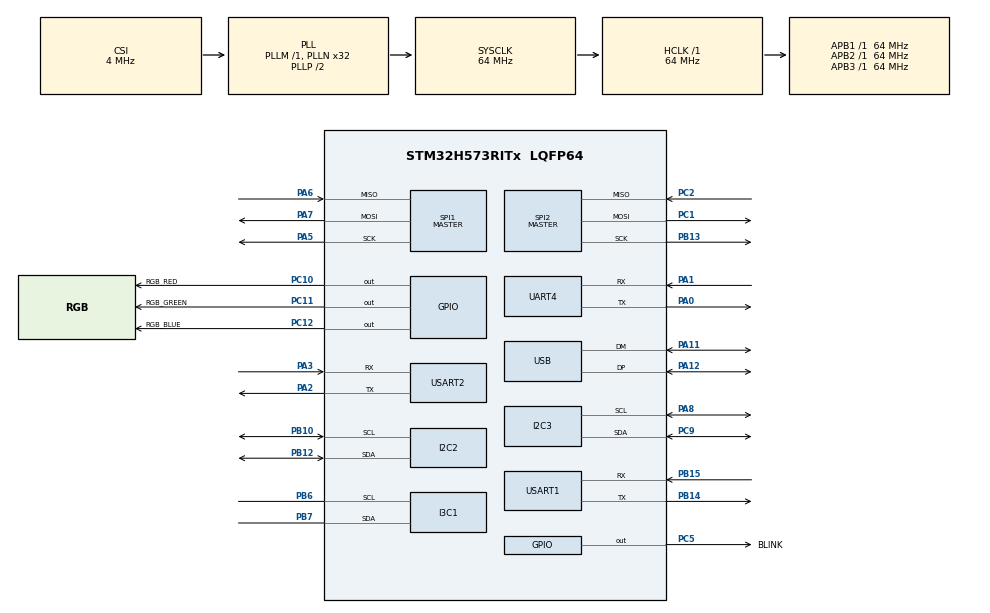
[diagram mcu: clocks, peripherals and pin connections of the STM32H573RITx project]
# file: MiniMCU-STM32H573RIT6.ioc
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BOOTPATH.BootPathName=LEGACY
BOOTPATH.UserSelectedBootPath=LEGACY
CORTEX_M33_NS.userName=CORTEX_M33
I2C2.Timing=0x10707DBC
I2C3.Timing=0x10707DBC
I3C1.BusFreeDuration=430
I3C1.Register0=0x001e131e
I3C1.Register1=0x000d003e
I3C1.SCLI3CHighDuration=0x13
I3C1.SCLODLowDuration=0x1e
I3C1.SCLPPLowDuration=0x1e
I3C1.SCL_OD_Freq=1255
I3C1.SCL_PP_Freq=1255
I3C1.hexBusFreeDuration=0x0d
I3C1.hexBusIdleDuration=0x3e
Mcu.Family=STM32H5
Mcu.Name=STM32H573RITx
Mcu.Package=LQFP64
NVIC.PriorityGroup=NVIC_PRIORITYGROUP_4
PA0.Mode=Asynchronous
PA0.Signal=UART4_TX
PA1.Mode=Asynchronous
PA1.Signal=UART4_RX
PA11.Mode=Device
PA11.Signal=USB_DM
PA12.Mode=Device
PA12.Signal=USB_DP
PA13(JTMS/SWDIO).Mode=Trace_Asynchronous_SW
PA13(JTMS/SWDIO).Signal=DEBUG_JTMS-SWDIO
PA14(JTCK/SWCLK).Mode=Trace_Asynchronous_SW
PA14(JTCK/SWCLK).Signal=DEBUG_JTCK-SWCLK
PA2.Mode=Asynchronous
PA2.Signal=USART2_TX
PA3.Mode=Asynchronous
PA3.Signal=USART2_RX
PA5.Mode=Full_Duplex_Master
PA5.Signal=SPI1_SCK
PA6.Mode=Full_Duplex_Master
PA6.Signal=SPI1_MISO
PA7.Mode=Full_Duplex_Master
PA7.Signal=SPI1_MOSI
PA8.Mode=I2C
PA8.Signal=I2C3_SCL
PB10.Mode=I2C
PB10.Signal=I2C2_SCL
PB12.Mode=I2C
PB12.Signal=I2C2_SDA
PB13.Mode=Full_Duplex_Master
PB13.Signal=SPI2_SCK
PB14.Mode=Asynchronous
PB14.Signal=USART1_TX
PB15.Mode=Asynchronous
PB15.Signal=USART1_RX
PB3(JTDO/TRACESWO).Mode=Trace_Asynchronous_SW
PB3(JTDO/TRACESWO).Signal=DEBUG_JTDO-SWO
PB6.Mode=Controller
PB6.Signal=I3C1_SCL
PB7.Mode=Controller
PB7.Signal=I3C1_SDA
PC1.Mode=Full_Duplex_Master
PC1.Signal=SPI2_MOSI
PC10.GPIO_Label=RGB_RED
PC10.Signal=GPIO_Output
PC11.GPIO_Label=RGB_GREEN
PC11.Signal=GPIO_Output
PC12.GPIO_Label=RGB_BLUE
PC12.Signal=GPIO_Output
PC14-OSC32_IN(OSC32_IN).Mode=LSE-External-Oscillator
PC14-OSC32_IN(OSC32_IN).Signal=RCC_OSC32_IN
PC15-OSC32_OUT(OSC32_OUT).Mode=LSE-External-Oscillator
PC15-OSC32_OUT(OSC32_OUT).Signal=RCC_OSC32_OUT
PC2.Mode=Full_Duplex_Master
PC2.Signal=SPI2_MISO
PC5.GPIO_Label=BLINK
PC5.Signal=GPIO_Output
PC9.Mode=I2C
PC9.Signal=I2C3_SDA
PH0-OSC_IN(PH0).Mode=HSE-External-Oscillator
PH0-OSC_IN(PH0).Signal=RCC_OSC_IN
PH1-OSC_OUT(PH1).Mode=HSE-External-Oscillator
PH1-OSC_OUT(PH1).Signal=RCC_OSC_OUT
ProjectManager.HeapSize=0x200
ProjectManager.StackSize=0x400
ProjectManager.TargetToolchain=STM32CubeIDE
RCC.ADCFreq_Value=64000000
RCC.AHBFreq_Value=64000000
RCC.APB1Freq_Value=64000000
RCC.APB1TimFreq_Value=64000000
RCC.APB2Freq_Value=64000000
RCC.APB2TimFreq_Value=64000000
RCC.APB3Freq_Value=64000000
RCC.CSI_VALUE=4000000
RCC.CortexFreq_Value=64000000
RCC.EPOD_VALUE=4000000
RCC.HCLKFreq_Value=64000000
RCC.HSE_VALUE=8000000
RCC.HSI48_VALUE=48000000
RCC.HSI_VALUE=64000000
RCC.LSIRC_VALUE=32000
RCC.PLL1Q=3
RCC.PLL2FRACN=0
RCC.PLL3FRACN=0
RCC.PLLFRACN=0
RCC.PLLN=32
RCC.SYSCLKFreq_VALUE=64000000
RCC.SYSCLKSource=RCC_SYSCLKSOURCE_PLLCLK
RCC.USBFreq_Value=48000000
RCC.VCOOutputFreq_Value=128000000
SPI1.BaudRatePrescaler=SPI_BAUDRATEPRESCALER_2
SPI1.CalculateBaudRate=21.333332 MBits/s
SPI1.Direction=SPI_DIRECTION_2LINES
SPI1.Mode=SPI_MODE_MASTER
SPI1.VirtualType=VM_MASTER
SPI2.BaudRatePrescaler=SPI_BAUDRATEPRESCALER_2
SPI2.CalculateBaudRate=21.333332 MBits/s
SPI2.Direction=SPI_DIRECTION_2LINES
SPI2.Mode=SPI_MODE_MASTER
SPI2.VirtualType=VM_MASTER
USART1.VirtualMode-Asynchronous=VM_ASYNC
USART2.VirtualMode-Asynchronous=VM_ASYNC
USB.VirtualMode=Device_Only
VP_BOOTPATH_VS_BOOTPATH.Mode=BP_Activate
VP_CORTEX_M33_NS_VS_Hclk.Mode=Hclk_Mode
VP_ICACHE_VS_ICACHE.Mode=DirectMappedCache
VP_MEMORYMAP_VS_MEMORYMAP.Mode=CurAppReg
VP_PWR_VS_LPOM.Mode=PowerOptimisation
VP_PWR_VS_SECSignals.Mode=Security/Privilege
board=custom

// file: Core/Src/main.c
/* USER CODE BEGIN Header */
/**
 ******************************************************************************
 * @file           : main.c
 * @brief          : Main program body
 ******************************************************************************
 * @attention
 *
 * Copyright (c) 2025 STMicroelectronics.
 * All rights reserved.
 *
 * This software is licensed under terms that can be found in the LICENSE file
 * in the root directory of this software component.
 * If no LICENSE file comes with this software, it is provided AS-IS.
 *
 ******************************************************************************
 */
/* USER CODE END Header */
#include "main.h"

/* USER CODE BEGIN Includes */
#include <stdbool.h>
/* USER CODE END Includes */

I2C_HandleTypeDef hi2c2;
I2C_HandleTypeDef hi2c3;

I3C_HandleTypeDef hi3c1;

SPI_HandleTypeDef hspi1;
SPI_HandleTypeDef hspi2;

UART_HandleTypeDef huart4;
UART_HandleTypeDef huart1;
UART_HandleTypeDef huart2;

PCD_HandleTypeDef hpcd_USB_DRD_FS;

void SystemClock_Config(void);
static void MX_GPIO_Init(void);
static void MX_ICACHE_Init(void);
static void MX_I2C2_Init(void);
static void MX_I2C3_Init(void);
static void MX_I3C1_Init(void);
static void MX_SPI1_Init(void);
static void MX_SPI2_Init(void);
static void MX_UART4_Init(void);
static void MX_USART1_UART_Init(void);
static void MX_USART2_UART_Init(void);
static void MX_USB_PCD_Init(void);

/* USER CODE BEGIN 0 */

#define LED_ON GPIO_PIN_SET
#define LED_OFF GPIO_PIN_RESET

static bool blink_state = false;

static inline void rgb_set(uint8_t r, uint8_t g, uint8_t b)
{
  // Adjust GPIOC to whatever port your LED pins are on
  HAL_GPIO_WritePin(GPIOC, RGB_RED_Pin, r ? LED_ON : LED_OFF);
  HAL_GPIO_WritePin(GPIOC, RGB_GREEN_Pin, g ? LED_ON : LED_OFF);
  HAL_GPIO_WritePin(GPIOC, RGB_BLUE_Pin, b ? LED_ON : LED_OFF);
}

/* USER CODE END 0 */

int main(void)
{

  /* MCU Configuration--------------------------------------------------------*/

  /* Reset of all peripherals, Initializes the Flash interface and the Systick. */
  HAL_Init();

  /* Configure the system clock */
  SystemClock_Config();

  /* Initialize all configured peripherals */
  MX_GPIO_Init();
  MX_ICACHE_Init();
  MX_I2C2_Init();
  MX_I2C3_Init();
  MX_I3C1_Init();
  MX_SPI1_Init();
  MX_SPI2_Init();
  MX_UART4_Init();
  MX_USART1_UART_Init();
  MX_USART2_UART_Init();
  MX_USB_PCD_Init();

  /* Infinite loop */
  /* USER CODE BEGIN WHILE */
  while (1) {
    static const uint8_t seq[] = {
      0b001, // Red
      0b010, // Green
      0b100, // Blue
      0b011, // Yellow (red+green)
      0b101, // Magenta (red+blue)
      0b110, // Cyan (green+blue)
      0b111, // White (red+green+blue)
      0b000  // Off
    };
    static size_t i = 0;

    uint8_t c = seq[i];
    rgb_set((c & 0b001) != 0, (c & 0b010) != 0, (c & 0b100) != 0);

    HAL_Delay(100);
    HAL_GPIO_WritePin(GPIOC, BLINK_Pin, blink_state); // Blink LED
    blink_state = !blink_state; // Alternate blink on/off

    i = (i + 1) % (sizeof(seq)); // Increment RGB sequence with wrap
  }
  /* USER CODE END WHILE */

}

void SystemClock_Config(void)
{
  RCC_OscInitTypeDef RCC_OscInitStruct = {0};
  RCC_ClkInitTypeDef RCC_ClkInitStruct = {0};

  /** Configure the main internal regulator output voltage
  */
  __HAL_PWR_VOLTAGESCALING_CONFIG(PWR_REGULATOR_VOLTAGE_SCALE3);

  while(!__HAL_PWR_GET_FLAG(PWR_FLAG_VOSRDY)) {}

  /** Initializes the RCC Oscillators according to the specified parameters
  * in the RCC_OscInitTypeDef structure.
  */
  RCC_OscInitStruct.OscillatorType = RCC_OSCILLATORTYPE_HSI48|RCC_OSCILLATORTYPE_CSI;
  RCC_OscInitStruct.HSI48State = RCC_HSI48_ON;
  RCC_OscInitStruct.CSIState = RCC_CSI_ON;
  RCC_OscInitStruct.CSICalibrationValue = RCC_CSICALIBRATION_DEFAULT;
  RCC_OscInitStruct.PLL.PLLState = RCC_PLL_ON;
  RCC_OscInitStruct.PLL.PLLSource = RCC_PLL1_SOURCE_CSI;
  RCC_OscInitStruct.PLL.PLLM = 1;
  RCC_OscInitStruct.PLL.PLLN = 32;
  RCC_OscInitStruct.PLL.PLLP = 2;
  RCC_OscInitStruct.PLL.PLLQ = 3;
  RCC_OscInitStruct.PLL.PLLR = 2;
  RCC_OscInitStruct.PLL.PLLRGE = RCC_PLL1_VCIRANGE_2;
  RCC_OscInitStruct.PLL.PLLVCOSEL = RCC_PLL1_VCORANGE_WIDE;
  RCC_OscInitStruct.PLL.PLLFRACN = 0;
  if (HAL_RCC_OscConfig(&RCC_OscInitStruct) != HAL_OK)
  {
    Error_Handler();
  }

  /** Initializes the CPU, AHB and APB buses clocks
  */
  RCC_ClkInitStruct.ClockType = RCC_CLOCKTYPE_HCLK|RCC_CLOCKTYPE_SYSCLK
                              |RCC_CLOCKTYPE_PCLK1|RCC_CLOCKTYPE_PCLK2
                              |RCC_CLOCKTYPE_PCLK3;
  RCC_ClkInitStruct.SYSCLKSource = RCC_SYSCLKSOURCE_PLLCLK;
  RCC_ClkInitStruct.AHBCLKDivider = RCC_SYSCLK_DIV1;
  RCC_ClkInitStruct.APB1CLKDivider = RCC_HCLK_DIV1;
  RCC_ClkInitStruct.APB2CLKDivider = RCC_HCLK_DIV1;
  RCC_ClkInitStruct.APB3CLKDivider = RCC_HCLK_DIV1;

  if (HAL_RCC_ClockConfig(&RCC_ClkInitStruct, FLASH_LATENCY_3) != HAL_OK)
  {
    Error_Handler();
  }

  /** Configure the programming delay
  */
  __HAL_FLASH_SET_PROGRAM_DELAY(FLASH_PROGRAMMING_DELAY_1);
}

static void MX_I2C2_Init(void)
{

  hi2c2.Instance = I2C2;
  hi2c2.Init.Timing = 0x10707DBC;
  hi2c2.Init.OwnAddress1 = 0;
  hi2c2.Init.AddressingMode = I2C_ADDRESSINGMODE_7BIT;
  hi2c2.Init.DualAddressMode = I2C_DUALADDRESS_DISABLE;
  hi2c2.Init.OwnAddress2 = 0;
  hi2c2.Init.OwnAddress2Masks = I2C_OA2_NOMASK;
  hi2c2.Init.GeneralCallMode = I2C_GENERALCALL_DISABLE;
  hi2c2.Init.NoStretchMode = I2C_NOSTRETCH_DISABLE;
  if (HAL_I2C_Init(&hi2c2) != HAL_OK)
  {
    Error_Handler();
  }

  /** Configure Analogue filter
  */
  if (HAL_I2CEx_ConfigAnalogFilter(&hi2c2, I2C_ANALOGFILTER_ENABLE) != HAL_OK)
  {
    Error_Handler();
  }

  /** Configure Digital filter
  */
  if (HAL_I2CEx_ConfigDigitalFilter(&hi2c2, 0) != HAL_OK)
  {
    Error_Handler();
  }

}

static void MX_I2C3_Init(void)
{

  hi2c3.Instance = I2C3;
  hi2c3.Init.Timing = 0x10707DBC;
  hi2c3.Init.OwnAddress1 = 0;
  hi2c3.Init.AddressingMode = I2C_ADDRESSINGMODE_7BIT;
  hi2c3.Init.DualAddressMode = I2C_DUALADDRESS_DISABLE;
  hi2c3.Init.OwnAddress2 = 0;
  hi2c3.Init.OwnAddress2Masks = I2C_OA2_NOMASK;
  hi2c3.Init.GeneralCallMode = I2C_GENERALCALL_DISABLE;
  hi2c3.Init.NoStretchMode = I2C_NOSTRETCH_DISABLE;
  if (HAL_I2C_Init(&hi2c3) != HAL_OK)
  {
    Error_Handler();
  }

  /** Configure Analogue filter
  */
  if (HAL_I2CEx_ConfigAnalogFilter(&hi2c3, I2C_ANALOGFILTER_ENABLE) != HAL_OK)
  {
    Error_Handler();
  }

  /** Configure Digital filter
  */
  if (HAL_I2CEx_ConfigDigitalFilter(&hi2c3, 0) != HAL_OK)
  {
    Error_Handler();
  }

}

static void MX_I3C1_Init(void)
{

  I3C_FifoConfTypeDef sFifoConfig = {0};
  I3C_CtrlConfTypeDef sCtrlConfig = {0};

  hi3c1.Instance = I3C1;
  hi3c1.Mode = HAL_I3C_MODE_CONTROLLER;
  hi3c1.Init.CtrlBusCharacteristic.SDAHoldTime = HAL_I3C_SDA_HOLD_TIME_0_5;
  hi3c1.Init.CtrlBusCharacteristic.WaitTime = HAL_I3C_OWN_ACTIVITY_STATE_0;
  hi3c1.Init.CtrlBusCharacteristic.SCLPPLowDuration = 0x1e;
  hi3c1.Init.CtrlBusCharacteristic.SCLI3CHighDuration = 0x13;
  hi3c1.Init.CtrlBusCharacteristic.SCLODLowDuration = 0x1e;
  hi3c1.Init.CtrlBusCharacteristic.SCLI2CHighDuration = 0x00;
  hi3c1.Init.CtrlBusCharacteristic.BusFreeDuration = 0x0d;
  hi3c1.Init.CtrlBusCharacteristic.BusIdleDuration = 0x3e;
  if (HAL_I3C_Init(&hi3c1) != HAL_OK)
  {
    Error_Handler();
  }

  /** Configure FIFO
  */
  sFifoConfig.RxFifoThreshold = HAL_I3C_RXFIFO_THRESHOLD_1_4;
  sFifoConfig.TxFifoThreshold = HAL_I3C_TXFIFO_THRESHOLD_1_4;
  sFifoConfig.ControlFifo = HAL_I3C_CONTROLFIFO_DISABLE;
  sFifoConfig.StatusFifo = HAL_I3C_STATUSFIFO_DISABLE;
  if (HAL_I3C_SetConfigFifo(&hi3c1, &sFifoConfig) != HAL_OK)
  {
    Error_Handler();
  }

  /** Configure controller
  */
  sCtrlConfig.DynamicAddr = 0;
  sCtrlConfig.StallTime = 0x00;
  sCtrlConfig.HotJoinAllowed = DISABLE;
  sCtrlConfig.ACKStallState = DISABLE;
  sCtrlConfig.CCCStallState = DISABLE;
  sCtrlConfig.TxStallState = DISABLE;
  sCtrlConfig.RxStallState = DISABLE;
  sCtrlConfig.HighKeeperSDA = DISABLE;
  if (HAL_I3C_Ctrl_Config(&hi3c1, &sCtrlConfig) != HAL_OK)
  {
    Error_Handler();
  }

}

static void MX_ICACHE_Init(void)
{

  /** Enable instruction cache in 1-way (direct mapped cache)
  */
  if (HAL_ICACHE_ConfigAssociativityMode(ICACHE_1WAY) != HAL_OK)
  {
    Error_Handler();
  }
  if (HAL_ICACHE_Enable() != HAL_OK)
  {
    Error_Handler();
  }

}

static void MX_SPI1_Init(void)
{

  /* SPI1 parameter configuration*/
  hspi1.Instance = SPI1;
  hspi1.Init.Mode = SPI_MODE_MASTER;
  hspi1.Init.Direction = SPI_DIRECTION_2LINES;
  hspi1.Init.DataSize = SPI_DATASIZE_4BIT;
  hspi1.Init.CLKPolarity = SPI_POLARITY_LOW;
  hspi1.Init.CLKPhase = SPI_PHASE_1EDGE;
  hspi1.Init.NSS = SPI_NSS_SOFT;
  hspi1.Init.BaudRatePrescaler = SPI_BAUDRATEPRESCALER_2;
  hspi1.Init.FirstBit = SPI_FIRSTBIT_MSB;
  hspi1.Init.TIMode = SPI_TIMODE_DISABLE;
  hspi1.Init.CRCCalculation = SPI_CRCCALCULATION_DISABLE;
  hspi1.Init.CRCPolynomial = 0x7;
  hspi1.Init.NSSPMode = SPI_NSS_PULSE_ENABLE;
  hspi1.Init.NSSPolarity = SPI_NSS_POLARITY_LOW;
  hspi1.Init.FifoThreshold = SPI_FIFO_THRESHOLD_01DATA;
  hspi1.Init.MasterSSIdleness = SPI_MASTER_SS_IDLENESS_00CYCLE;
  hspi1.Init.MasterInterDataIdleness = SPI_MASTER_INTERDATA_IDLENESS_00CYCLE;
  hspi1.Init.MasterReceiverAutoSusp = SPI_MASTER_RX_AUTOSUSP_DISABLE;
  hspi1.Init.MasterKeepIOState = SPI_MASTER_KEEP_IO_STATE_DISABLE;
  hspi1.Init.IOSwap = SPI_IO_SWAP_DISABLE;
  hspi1.Init.ReadyMasterManagement = SPI_RDY_MASTER_MANAGEMENT_INTERNALLY;
  hspi1.Init.ReadyPolarity = SPI_RDY_POLARITY_HIGH;
  if (HAL_SPI_Init(&hspi1) != HAL_OK)
  {
    Error_Handler();
  }

}

static void MX_SPI2_Init(void)
{

  /* SPI2 parameter configuration*/
  hspi2.Instance = SPI2;
  hspi2.Init.Mode = SPI_MODE_MASTER;
  hspi2.Init.Direction = SPI_DIRECTION_2LINES;
  hspi2.Init.DataSize = SPI_DATASIZE_4BIT;
  hspi2.Init.CLKPolarity = SPI_POLARITY_LOW;
  hspi2.Init.CLKPhase = SPI_PHASE_1EDGE;
  hspi2.Init.NSS = SPI_NSS_SOFT;
  hspi2.Init.BaudRatePrescaler = SPI_BAUDRATEPRESCALER_2;
  hspi2.Init.FirstBit = SPI_FIRSTBIT_MSB;
  hspi2.Init.TIMode = SPI_TIMODE_DISABLE;
  hspi2.Init.CRCCalculation = SPI_CRCCALCULATION_DISABLE;
  hspi2.Init.CRCPolynomial = 0x7;
  hspi2.Init.NSSPMode = SPI_NSS_PULSE_ENABLE;
  hspi2.Init.NSSPolarity = SPI_NSS_POLARITY_LOW;
  hspi2.Init.FifoThreshold = SPI_FIFO_THRESHOLD_01DATA;
  hspi2.Init.MasterSSIdleness = SPI_MASTER_SS_IDLENESS_00CYCLE;
  hspi2.Init.MasterInterDataIdleness = SPI_MASTER_INTERDATA_IDLENESS_00CYCLE;
  hspi2.Init.MasterReceiverAutoSusp = SPI_MASTER_RX_AUTOSUSP_DISABLE;
  hspi2.Init.MasterKeepIOState = SPI_MASTER_KEEP_IO_STATE_DISABLE;
  hspi2.Init.IOSwap = SPI_IO_SWAP_DISABLE;
  hspi2.Init.ReadyMasterManagement = SPI_RDY_MASTER_MANAGEMENT_INTERNALLY;
  hspi2.Init.ReadyPolarity = SPI_RDY_POLARITY_HIGH;
  if (HAL_SPI_Init(&hspi2) != HAL_OK)
  {
    Error_Handler();
  }

}

static void MX_UART4_Init(void)
{

  huart4.Instance = UART4;
  huart4.Init.BaudRate = 115200;
  huart4.Init.WordLength = UART_WORDLENGTH_8B;
  huart4.Init.StopBits = UART_STOPBITS_1;
  huart4.Init.Parity = UART_PARITY_NONE;
  huart4.Init.Mode = UART_MODE_TX_RX;
  huart4.Init.HwFlowCtl = UART_HWCONTROL_NONE;
  huart4.Init.OverSampling = UART_OVERSAMPLING_16;
  huart4.Init.OneBitSampling = UART_ONE_BIT_SAMPLE_DISABLE;
  huart4.Init.ClockPrescaler = UART_PRESCALER_DIV1;
  huart4.AdvancedInit.AdvFeatureInit = UART_ADVFEATURE_NO_INIT;
  if (HAL_UART_Init(&huart4) != HAL_OK)
  {
    Error_Handler();
  }
  if (HAL_UARTEx_SetTxFifoThreshold(&huart4, UART_TXFIFO_THRESHOLD_1_8) != HAL_OK)
  {
    Error_Handler();
  }
  if (HAL_UARTEx_SetRxFifoThreshold(&huart4, UART_RXFIFO_THRESHOLD_1_8) != HAL_OK)
  {
    Error_Handler();
  }
  if (HAL_UARTEx_DisableFifoMode(&huart4) != HAL_OK)
  {
    Error_Handler();
  }

}

static void MX_USART1_UART_Init(void)
{

  huart1.Instance = USART1;
  huart1.Init.BaudRate = 115200;
  huart1.Init.WordLength = UART_WORDLENGTH_8B;
  huart1.Init.StopBits = UART_STOPBITS_1;
  huart1.Init.Parity = UART_PARITY_NONE;
  huart1.Init.Mode = UART_MODE_TX_RX;
  huart1.Init.HwFlowCtl = UART_HWCONTROL_NONE;
  huart1.Init.OverSampling = UART_OVERSAMPLING_16;
  huart1.Init.OneBitSampling = UART_ONE_BIT_SAMPLE_DISABLE;
  huart1.Init.ClockPrescaler = UART_PRESCALER_DIV1;
  huart1.AdvancedInit.AdvFeatureInit = UART_ADVFEATURE_NO_INIT;
  if (HAL_UART_Init(&huart1) != HAL_OK)
  {
    Error_Handler();
  }
  if (HAL_UARTEx_SetTxFifoThreshold(&huart1, UART_TXFIFO_THRESHOLD_1_8) != HAL_OK)
  {
    Error_Handler();
  }
  if (HAL_UARTEx_SetRxFifoThreshold(&huart1, UART_RXFIFO_THRESHOLD_1_8) != HAL_OK)
  {
    Error_Handler();
  }
  if (HAL_UARTEx_DisableFifoMode(&huart1) != HAL_OK)
  {
    Error_Handler();
  }

}

static void MX_USART2_UART_Init(void)
{

  huart2.Instance = USART2;
  huart2.Init.BaudRate = 115200;
  huart2.Init.WordLength = UART_WORDLENGTH_8B;
  huart2.Init.StopBits = UART_STOPBITS_1;
  huart2.Init.Parity = UART_PARITY_NONE;
  huart2.Init.Mode = UART_MODE_TX_RX;
  huart2.Init.HwFlowCtl = UART_HWCONTROL_NONE;
  huart2.Init.OverSampling = UART_OVERSAMPLING_16;
  huart2.Init.OneBitSampling = UART_ONE_BIT_SAMPLE_DISABLE;
  huart2.Init.ClockPrescaler = UART_PRESCALER_DIV1;
  huart2.AdvancedInit.AdvFeatureInit = UART_ADVFEATURE_NO_INIT;
  if (HAL_UART_Init(&huart2) != HAL_OK)
  {
    Error_Handler();
  }
  if (HAL_UARTEx_SetTxFifoThreshold(&huart2, UART_TXFIFO_THRESHOLD_1_8) != HAL_OK)
  {
    Error_Handler();
  }
  if (HAL_UARTEx_SetRxFifoThreshold(&huart2, UART_RXFIFO_THRESHOLD_1_8) != HAL_OK)
  {
    Error_Handler();
  }
  if (HAL_UARTEx_DisableFifoMode(&huart2) != HAL_OK)
  {
    Error_Handler();
  }

}

static void MX_USB_PCD_Init(void)
{

  hpcd_USB_DRD_FS.Instance = USB_DRD_FS;
  hpcd_USB_DRD_FS.Init.dev_endpoints = 8;
  hpcd_USB_DRD_FS.Init.speed = USBD_FS_SPEED;
  hpcd_USB_DRD_FS.Init.phy_itface = PCD_PHY_EMBEDDED;
  hpcd_USB_DRD_FS.Init.Sof_enable = DISABLE;
  hpcd_USB_DRD_FS.Init.low_power_enable = DISABLE;
  hpcd_USB_DRD_FS.Init.lpm_enable = DISABLE;
  hpcd_USB_DRD_FS.Init.battery_charging_enable = DISABLE;
  hpcd_USB_DRD_FS.Init.vbus_sensing_enable = DISABLE;
  hpcd_USB_DRD_FS.Init.bulk_doublebuffer_enable = DISABLE;
  hpcd_USB_DRD_FS.Init.iso_singlebuffer_enable = DISABLE;
  if (HAL_PCD_Init(&hpcd_USB_DRD_FS) != HAL_OK)
  {
    Error_Handler();
  }

}

static void MX_GPIO_Init(void)
{
  GPIO_InitTypeDef GPIO_InitStruct = {0};

  /* GPIO Ports Clock Enable */
  __HAL_RCC_GPIOC_CLK_ENABLE();
  __HAL_RCC_GPIOH_CLK_ENABLE();
  __HAL_RCC_GPIOA_CLK_ENABLE();
  __HAL_RCC_GPIOB_CLK_ENABLE();

  /*Configure GPIO pin Output Level */
  HAL_GPIO_WritePin(GPIOC, BLINK_Pin|RGB_RED_Pin|RGB_GREEN_Pin|RGB_BLUE_Pin, GPIO_PIN_RESET);

  /*Configure GPIO pins : BLINK_Pin RGB_RED_Pin RGB_GREEN_Pin RGB_BLUE_Pin */
  GPIO_InitStruct.Pin = BLINK_Pin|RGB_RED_Pin|RGB_GREEN_Pin|RGB_BLUE_Pin;
  GPIO_InitStruct.Mode = GPIO_MODE_OUTPUT_PP;
  GPIO_InitStruct.Pull = GPIO_NOPULL;
  GPIO_InitStruct.Speed = GPIO_SPEED_FREQ_LOW;
  HAL_GPIO_Init(GPIOC, &GPIO_InitStruct);

}

void Error_Handler(void)
{
	__disable_irq();
	while (1) {
	}
}
